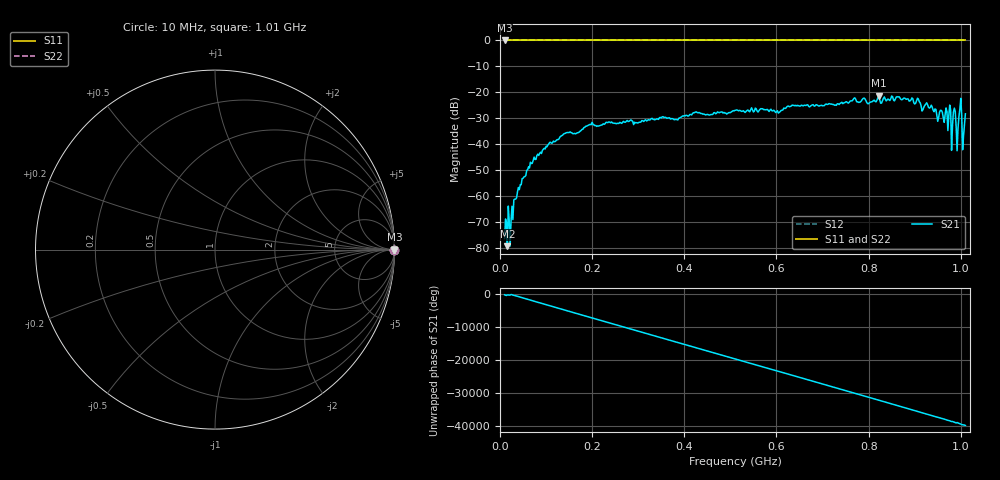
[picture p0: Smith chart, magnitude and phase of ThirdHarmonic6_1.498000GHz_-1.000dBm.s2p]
! 8/16/2025 5:35:21 PM
! C:\ANRITSUVNA\TEMP\TEMP.S2P
! CHANNEL.1
! TR.MEASUREMENT
! RAW.DATA
! RF.CORRECTION.OFF
! AVERAGING.OFF
! IF.BANDWIDTH: 5KHZ
! SWEEPTYPE:  FREQ.SWEEP(Linear)
! Reference Plane Port Info
! PORT:  PORT1  PORT2
! DISTANCE:  0  m  0  m
! TIME:  0  s  0  s
! PHASE.OFFSET:  0  deg.  0  deg.
! LOSS:  0  dB  0  dB
! REF.LOSS:  0  dB  0  dB
! REF.FREQ:  0  Hz  0  Hz
! Power Info
! POWER:  -20  dBm  -20  dBm
! EFF.POWER:  -20  dBm  -20  dBm
! SOURCE.ATTEN:  0  dB  0  dB
! TEST.ATTEN:  0  dB  0  dB
# GHZ S RI R 50.0
! FREQ.GHZ  S11RE  S11IM  S21RE  S21IM  S12RE  S12IM  S22RE  S22IM
!; PortSelection: Port_12
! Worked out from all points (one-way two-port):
!   501 points, 10 MHz to 1.01 GHz, reference 50 ohm
!   highest |S21| = -21.22 dB at 822 MHz (marker M1); lowest = -79.2 dB at 16 MHz (marker M2)
!   lowest |S11| = 0.0 dB at 10 MHz (marker M3)
!   |S11| at or under -10 dB: nowhere
!   |S22| runs from 0.0 to 0.0 dB; largest |S21 - S12| = 1.1
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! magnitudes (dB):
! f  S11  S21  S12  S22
! 10 MHz  0.0  -76.2  0.0  0.0
! 16 MHz  0.0  -79.2  0.0  0.0
! 20 MHz  0.0  -69.5  0.0  0.0
! 34 MHz  0.0  -61.1  0.0  0.0
! 70 MHz  0.0  -47.3  0.0  0.0
! 140 MHz  0.0  -35.8  0.0  0.0
! 178 MHz  0.0  -34.2  0.0  0.0
! 344 MHz  0.0  -30.4  0.0  0.0
! 510 MHz  0.0  -26.9  0.0  0.0
! 602 MHz  0.0  -27.0  0.0  0.0
! 678 MHz  0.0  -24.8  0.0  0.0
! 822 MHz  0.0  -21.2  0.0  0.0
! 844 MHz  0.0  -22.8  0.0  0.0
! 908 MHz  0.0  -22.6  0.0  0.0
! 950 MHz  0.0  -31.1  0.0  0.0
! 974 MHz  0.0  -28.9  0.0  0.0
! 976 MHz  0.0  -24.9  0.0  0.0
! 986 MHz  0.0  -26.1  0.0  0.0
! 992 MHz  0.0  -42.5  0.0  0.0
! 998 MHz  0.0  -26.4  0.0  0.0
! 1.006 GHz  0.0  -36.6  0.0  0.0
! 1.01 GHz  0.0  -28.2  0.0  0.0
